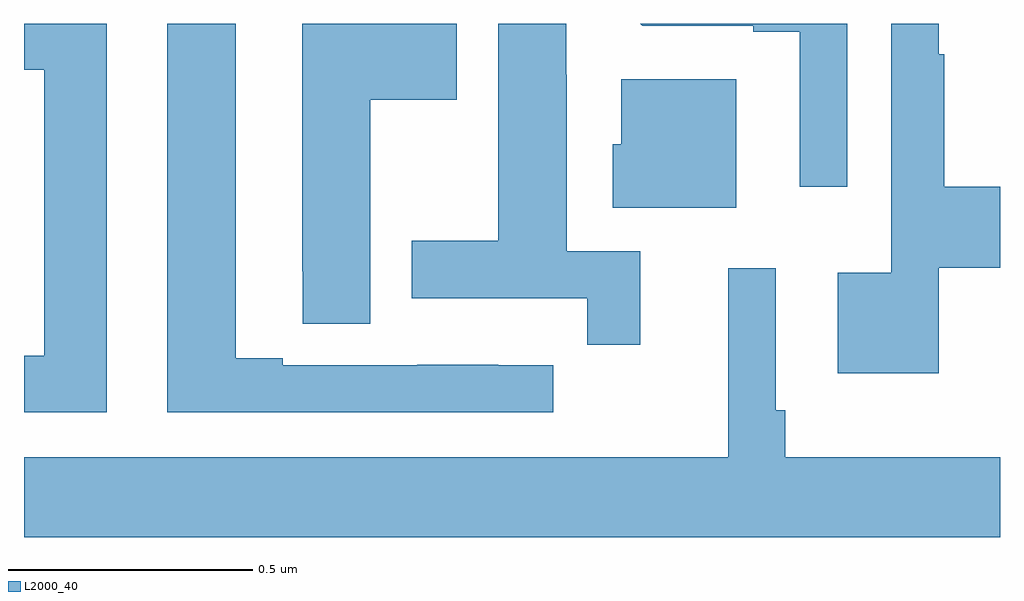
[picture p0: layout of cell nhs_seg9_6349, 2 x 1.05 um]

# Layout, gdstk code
import gdstk
lib = gdstk.Library(unit=1e-6, precision=1e-09)
def P(c, l, *ps):  # polygons
    for p in ps: c.add(gdstk.Polygon(p, *l))
L2000_40 = (2000, 40)

nhs_seg9_6349 = lib.new_cell('nhs_seg9_6349')
P(nhs_seg9_6349, L2000_40, [(192.687,1169.5),(192.263,1169.5),(192.267,1169.496),(192.494,1169.496),(192.494,1169.484),(192.59,1169.484),(192.59,1169.166),(192.687,1169.166)],
  [(192.263,1169.034),(192.112,1169.034),(192.112,1169.396),(192.111,1169.396),(192.111,1169.5),(191.972,1169.5),(191.972,1169.055),(191.795,1169.055),(191.795,1168.938),(192.154,1168.938),(192.154,1168.842),(192.263,1168.842)],
  [(191.71,1169.344),(191.887,1169.344),(191.887,1169.5),(191.57,1169.5),(191.57,1168.993),(191.571,1168.993),(191.571,1168.885),(191.71,1168.885)],
  [(192.085,1168.8),(191.972,1168.8),(191.972,1168.801),(191.806,1168.801),(191.806,1168.8),(191.53,1168.8),(191.53,1168.815),(191.434,1168.815),(191.434,1169.5),(191.294,1169.5),(191.294,1168.704),(192.085,1168.704)],
  [(191.17,1169.5),(191,1169.5),(191,1169.406),(191.042,1169.406),(191.042,1168.82),(191,1168.82),(191,1168.704),(191.17,1168.704)],
  [(192.874,1169),(193,1169),(193,1169.166),(192.886,1169.166),(192.886,1169.438),(192.874,1169.438),(192.874,1169.5),(192.777,1169.5),(192.777,1168.99),(192.668,1168.99),(192.668,1168.784),(192.874,1168.784)],
  [(192.46,1169.386),(192.224,1169.386),(192.224,1169.253),(192.206,1169.253),(192.206,1169.123),(192.46,1169.123)],
  [(193,1168.612),(192.56,1168.612),(192.56,1168.708),(192.54,1168.708),(192.54,1168.999),(192.443,1168.999),(192.443,1168.612),(191,1168.612),(191,1168.448),(193,1168.448)])

lib.write_gds('nhs_seg9_6349.gds')
